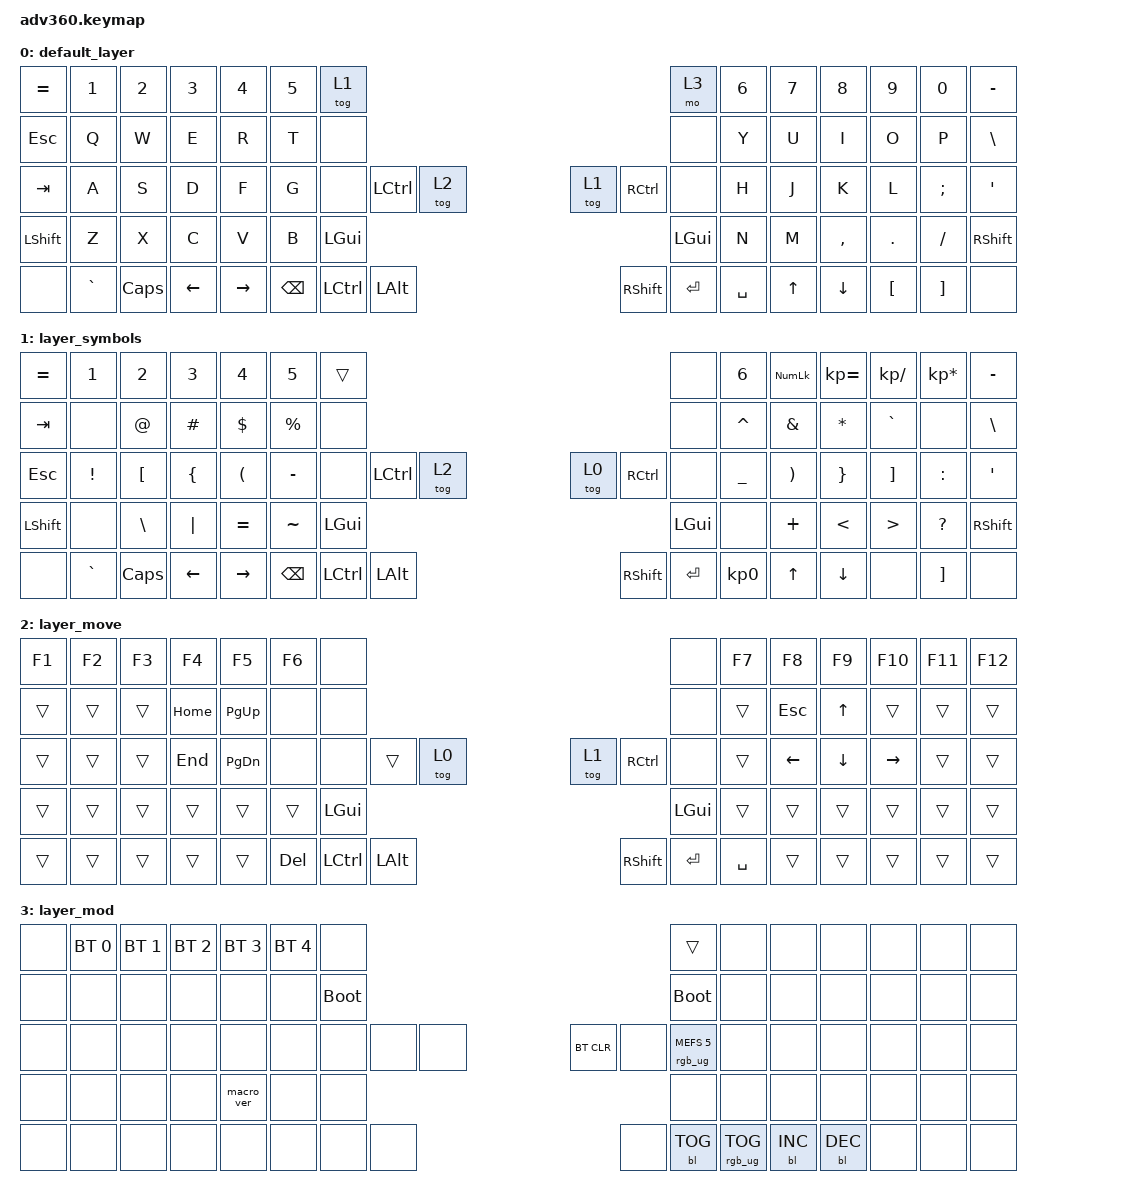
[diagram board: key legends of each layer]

/*
 * Copyright (c) 2020 The ZMK Contributors
 *
 * SPDX-License-Identifier: MIT
 */


/* THIS FILE WAS GENERATED!
 *
 * This file was generated automatically. You may or may not want to
 * edit it directly.
 */

#include <behaviors.dtsi>
#include <dt-bindings/zmk/keys.h>
#include <dt-bindings/zmk/bt.h>
#include <dt-bindings/zmk/rgb.h>
#include <dt-bindings/zmk/backlight.h>

/ {
  behaviors {
    #include "macros.dtsi"
    #include "version.dtsi"

    hm: homerow_mods {
        compatible = "zmk,behavior-hold-tap";
        label = "HOMEROW_MODS";
        #binding-cells = <2>;
        tapping-term-ms = <200>;
        quick_tap_ms = <175>;
        flavor = "tap-preferred";
        bindings = <&kp>, <&kp>;
    };
  };

    keymap {
        compatible = "zmk,keymap";


        default_layer {
            bindings = <
 &kp EQUAL     &kp N1    &kp N2    &kp N3     &kp N4  &kp N5              &tog 1                                                                 &mo 3  &kp N6  &kp N7     &kp N8    &kp N9    &kp N0  &kp MINUS
   &kp ESC      &kp Q     &kp W     &kp E      &kp R   &kp T               &none                                                                 &none   &kp Y   &kp U      &kp I     &kp O     &kp P   &kp BSLH
   &kp TAB      &kp A     &kp S     &kp D      &kp F   &kp G               &none  &kp LCTRL    &tog 2                     &tog 1  &kp RCTRL      &none   &kp H   &kp J      &kp K     &kp L  &kp SEMI    &kp SQT
 &kp LSHFT      &kp Z     &kp X     &kp C      &kp V   &kp B                                 &kp LGUI                   &kp LGUI                         &kp N   &kp M  &kp COMMA   &kp DOT  &kp FSLH  &kp RSHFT
     &none  &kp GRAVE  &kp CAPS  &kp LEFT  &kp RIGHT                    &kp BSPC  &kp LCTRL  &kp LALT                  &kp RSHFT  &kp ENTER  &kp SPACE          &kp UP   &kp DOWN  &kp LBKT  &kp RBKT      &none
            >;
        };

        layer_symbols {
            bindings = <
 &kp EQUAL           &kp N1            &kp N2          &kp N3                &kp N4       &kp N5              &trans                                                                 &none          &kp N6             &kp KP_NUM     &kp KP_EQUAL      &kp KP_DIVIDE  &kp KP_MULTIPLY  &kp MINUS
   &kp TAB            &none       &kp AT_SIGN        &kp HASH            &kp DOLLAR  &kp PERCENT               &none                                                                 &none       &kp CARET          &kp AMPERSAND     &kp ASTERISK          &kp GRAVE            &none   &kp BSLH
   &kp ESC  &kp EXCLAMATION  &kp LEFT_BRACKET  &kp LEFT_BRACE  &kp LEFT_PARENTHESIS    &kp MINUS               &none  &kp LCTRL    &tog 2                     &tog 0  &kp RCTRL      &none  &kp UNDERSCORE  &kp RIGHT_PARENTHESIS  &kp RIGHT_BRACE  &kp RIGHT_BRACKET        &kp COLON    &kp SQT
 &kp LSHFT            &none          &kp BSLH        &kp PIPE             &kp EQUAL    &kp TILDE                                 &kp LGUI                   &kp LGUI                                 &none               &kp PLUS    &kp LESS_THAN   &kp GREATER_THAN     &kp QUESTION  &kp RSHFT
     &none        &kp GRAVE          &kp CAPS        &kp LEFT             &kp RIGHT                         &kp BSPC  &kp LCTRL  &kp LALT                  &kp RSHFT  &kp ENTER  &kp KP_N0                                 &kp UP         &kp DOWN              &none         &kp RBKT      &none
            >;
        };

        layer_move {
            bindings = <
 &kp F1  &kp F2  &kp F3    &kp F4     &kp F5  &kp F6                 &none                                                                      &none  &kp F7          &kp F8          &kp F9          &kp F10  &kp F11  &kp F12
 &trans  &trans  &trans  &kp HOME  &kp PG_UP   &none                 &none                                                                      &none  &trans         &kp ESC    &kp UP_ARROW           &trans   &trans   &trans
 &trans  &trans  &trans   &kp END  &kp PG_DN   &none                 &none     &trans        &tog 0                      &tog 1  &kp RCTRL      &none  &trans  &kp LEFT_ARROW  &kp DOWN_ARROW  &kp RIGHT_ARROW   &trans   &trans
 &trans  &trans  &trans    &trans     &trans  &trans                                       &kp LGUI                    &kp LGUI                        &trans          &trans          &trans           &trans   &trans   &trans
 &trans  &trans  &trans    &trans     &trans                    &kp DELETE  &kp LCTRL  &kp LEFT_ALT                  &kp RSHIFT  &kp ENTER  &kp SPACE                  &trans          &trans           &trans   &trans   &trans
            >;
        };

        layer_mod {
            bindings = <
  &none  &bt BT_SEL 0  &bt BT_SEL 1  &bt BT_SEL 2  &bt BT_SEL 3  &bt BT_SEL 4                  &none                                                                          &trans   &none       &none       &none   &none   &none   &none
  &none         &none         &none         &none         &none         &none            &bootloader                                                                     &bootloader   &none       &none       &none   &none   &none   &none
  &none         &none         &none         &none         &none         &none                  &none   &none   &none                  &bt BT_CLR       &none  &rgb_ug RGB_MEFS_CMD 5   &none       &none       &none   &none   &none   &none
  &none         &none         &none         &none    &macro_ver         &none                                  &none                       &none                                       &none       &none       &none   &none   &none   &none
  &none         &none         &none         &none         &none                                &none   &none   &none                       &none  &bl BL_TOG         &rgb_ug RGB_TOG          &bl BL_INC  &bl BL_DEC   &none   &none   &none
            >;
        };

    };
};
